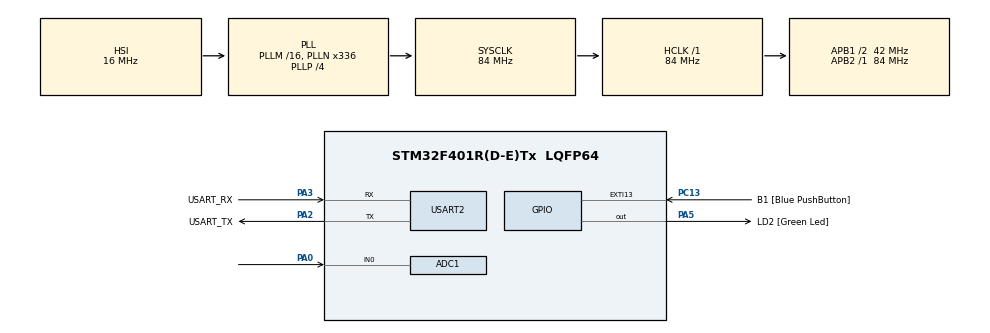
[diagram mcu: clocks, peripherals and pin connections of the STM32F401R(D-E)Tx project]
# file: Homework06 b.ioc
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ADC1.Channel-0\#ChannelRegularConversion=ADC_CHANNEL_0
ADC1.DMAContinuousRequests=ENABLE
ADC1.ExternalTrigConv=ADC_EXTERNALTRIGCONV_T2_TRGO
ADC1.InjNumberOfConversion=0
ADC1.NbrOfConversion=1
ADC1.NbrOfConversionFlag=1
ADC1.Rank-0\#ChannelRegularConversion=1
ADC1.Resolution=ADC_RESOLUTION_12B
ADC1.SamplingTime-0\#ChannelRegularConversion=ADC_SAMPLETIME_480CYCLES
ADC1.master=1
Dma.ADC1.0.Direction=DMA_PERIPH_TO_MEMORY
Dma.ADC1.0.FIFOMode=DMA_FIFOMODE_DISABLE
Dma.ADC1.0.Instance=DMA2_Stream0
Dma.ADC1.0.MemDataAlignment=DMA_MDATAALIGN_HALFWORD
Dma.ADC1.0.MemInc=DMA_MINC_ENABLE
Dma.ADC1.0.Mode=DMA_CIRCULAR
Dma.ADC1.0.PeriphDataAlignment=DMA_PDATAALIGN_HALFWORD
Dma.ADC1.0.PeriphInc=DMA_PINC_DISABLE
Dma.ADC1.0.Priority=DMA_PRIORITY_VERY_HIGH
Dma.Request0=ADC1
Dma.Request1=USART2_TX
Dma.USART2_TX.1.Direction=DMA_MEMORY_TO_PERIPH
Dma.USART2_TX.1.FIFOMode=DMA_FIFOMODE_DISABLE
Dma.USART2_TX.1.Instance=DMA1_Stream6
Dma.USART2_TX.1.MemDataAlignment=DMA_MDATAALIGN_BYTE
Dma.USART2_TX.1.MemInc=DMA_MINC_ENABLE
Dma.USART2_TX.1.Mode=DMA_NORMAL
Dma.USART2_TX.1.PeriphDataAlignment=DMA_PDATAALIGN_BYTE
Dma.USART2_TX.1.PeriphInc=DMA_PINC_DISABLE
Dma.USART2_TX.1.Priority=DMA_PRIORITY_HIGH
Mcu.Family=STM32F4
Mcu.Name=STM32F401R(D-E)Tx
Mcu.Package=LQFP64
NVIC.ADC_IRQn=true\:0\:0\:false\:false\:true\:true\:true\:true
NVIC.DMA1_Stream6_IRQn=true\:0\:0\:false\:false\:true\:false\:true\:true
NVIC.DMA2_Stream0_IRQn=true\:0\:0\:false\:false\:true\:false\:true\:true
NVIC.PriorityGroup=NVIC_PRIORITYGROUP_0
NVIC.TIM3_IRQn=true\:0\:1\:false\:false\:true\:true\:true\:true
NVIC.USART2_IRQn=true\:0\:0\:false\:false\:true\:true\:true\:true
PA0-WKUP.Signal=ADCx_IN0
PA13.GPIO_Label=TMS
PA13.Mode=Serial_Wire
PA13.Signal=SYS_JTMS-SWDIO
PA14.GPIO_Label=TCK
PA14.Mode=Serial_Wire
PA14.Signal=SYS_JTCK-SWCLK
PA2.GPIO_Label=USART_TX
PA2.GPIO_Mode=GPIO_MODE_AF_PP
PA2.GPIO_PuPd=GPIO_NOPULL
PA2.GPIO_Speed=GPIO_SPEED_FREQ_LOW
PA2.Mode=Asynchronous
PA2.Signal=USART2_TX
PA3.GPIO_Label=USART_RX
PA3.GPIO_Mode=GPIO_MODE_AF_PP
PA3.GPIO_PuPd=GPIO_NOPULL
PA3.GPIO_Speed=GPIO_SPEED_FREQ_LOW
PA3.Mode=Asynchronous
PA3.Signal=USART2_RX
PA5.GPIO_Label=LD2 [Green Led]
PA5.GPIO_Mode=GPIO_MODE_OUTPUT_PP
PA5.GPIO_PuPd=GPIO_NOPULL
PA5.GPIO_Speed=GPIO_SPEED_FREQ_LOW
PA5.Signal=GPIO_Output
PB3.GPIO_Label=SWO
PB3.Signal=SYS_JTDO-SWO
PC13-ANTI_TAMP.GPIO_Label=B1 [Blue PushButton]
PC13-ANTI_TAMP.GPIO_ModeDefaultEXTI=GPIO_MODE_IT_FALLING
PC13-ANTI_TAMP.GPIO_PuPd=GPIO_NOPULL
PC13-ANTI_TAMP.Signal=GPXTI13
PC14-OSC32_IN.Mode=LSE-External-Oscillator
PC14-OSC32_IN.Signal=RCC_OSC32_IN
PC15-OSC32_OUT.Mode=LSE-External-Oscillator
PC15-OSC32_OUT.Signal=RCC_OSC32_OUT
PH0\ -\ OSC_IN.Mode=HSE-External-Clock-Source
PH0\ -\ OSC_IN.Signal=RCC_OSC_IN
PH1\ -\ OSC_OUT.Mode=HSE-External-Clock-Source
PH1\ -\ OSC_OUT.Signal=RCC_OSC_OUT
ProjectManager.HeapSize=0x200
ProjectManager.StackSize=0x400
ProjectManager.TargetToolchain=STM32CubeIDE
RCC.48MHZClocksFreq_Value=48000000
RCC.AHBFreq_Value=84000000
RCC.APB1CLKDivider=RCC_HCLK_DIV2
RCC.APB1Freq_Value=42000000
RCC.APB1TimFreq_Value=84000000
RCC.APB2Freq_Value=84000000
RCC.APB2TimFreq_Value=84000000
RCC.CortexFreq_Value=84000000
RCC.HCLKFreq_Value=84000000
RCC.HSE_VALUE=8000000
RCC.HSI_VALUE=16000000
RCC.PLLN=336
RCC.PLLP=RCC_PLLP_DIV4
RCC.PLLQ=7
RCC.SYSCLKFreq_VALUE=84000000
RCC.SYSCLKSource=RCC_SYSCLKSOURCE_PLLCLK
RCC.VCOOutputFreq_Value=336000000
SH.ADCx_IN0.0=ADC1_IN0,IN0
TIM2.Period=8399
TIM2.Prescaler=9
TIM2.TIM_MasterOutputTrigger=TIM_TRGO_UPDATE
TIM3.Period=9999
TIM3.Prescaler=8399
USART2.VirtualMode=VM_ASYNC
VP_TIM2_VS_ClockSourceINT.Mode=Internal
VP_TIM3_VS_ClockSourceINT.Mode=Internal
board=NUCLEO-F401RE

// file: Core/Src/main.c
/* USER CODE BEGIN Header */
/**
 ******************************************************************************
 * @file           : main.c
 * @brief          : Main program body
 ******************************************************************************
 * @attention
 *
 * Copyright (c) 2024 STMicroelectronics.
 * All rights reserved.
 *
 * This software is licensed under terms that can be found in the LICENSE file
 * in the root directory of this software component.
 * If no LICENSE file comes with this software, it is provided AS-IS.
 *
 ******************************************************************************
 */
/* USER CODE END Header */
#include "main.h"

/* USER CODE BEGIN Includes */
#include <string.h>
#include <math.h>
/* USER CODE END Includes */

ADC_HandleTypeDef hadc1;
DMA_HandleTypeDef hdma_adc1;

TIM_HandleTypeDef htim2;
TIM_HandleTypeDef htim3;

UART_HandleTypeDef huart2;
DMA_HandleTypeDef hdma_usart2_tx;

void SystemClock_Config(void);
static void MX_GPIO_Init(void);
static void MX_DMA_Init(void);
static void MX_USART2_UART_Init(void);
static void MX_ADC1_Init(void);
static void MX_TIM2_Init(void);
static void MX_TIM3_Init(void);

/* USER CODE BEGIN 0 */

uint16_t adc_dma_result; //buffer dove metto i valori
int adc_channel_count = 1;
char output[20];
int vldr = 0;
float mean = 0.0f;
float res = 0.0f;
float lux = 0.0f;

void HAL_ADC_ConvCpltCallback(ADC_HandleTypeDef *hadc) {
	 vldr = vldr + (int)adc_dma_result;
}

void HAL_TIM_PeriodElapsedCallback(TIM_HandleTypeDef *htim) {
	if(htim == &htim3){
		mean = 3.3f * vldr /4096000;
		res =(mean * 100000)/(3.3f - mean);
		lux = 10 * pow(100000/res,1.25f);
		snprintf(output, 100, "Lux: %.5f\r\n", lux);
		HAL_UART_Transmit_DMA(&huart2, output, strlen(output));
		vldr = 0;
	}
}

/* USER CODE END 0 */

int main(void)
{

  /* MCU Configuration--------------------------------------------------------*/

  /* Reset of all peripherals, Initializes the Flash interface and the Systick. */
  HAL_Init();

  /* Configure the system clock */
  SystemClock_Config();

  /* Initialize all configured peripherals */
  MX_GPIO_Init();
  MX_DMA_Init();
  MX_USART2_UART_Init();
  MX_ADC1_Init();
  MX_TIM2_Init();
  MX_TIM3_Init();
  /* USER CODE BEGIN 2 */
	HAL_ADC_Start_DMA(&hadc1, &adc_dma_result, adc_channel_count);
	HAL_TIM_Base_Start(&htim2);
	HAL_TIM_Base_Start_IT(&htim3);
  /* USER CODE END 2 */

  /* Infinite loop */
	while (1)
	{

	}
}

void SystemClock_Config(void)
{
  RCC_OscInitTypeDef RCC_OscInitStruct = {0};
  RCC_ClkInitTypeDef RCC_ClkInitStruct = {0};

  /** Configure the main internal regulator output voltage
  */
  __HAL_RCC_PWR_CLK_ENABLE();
  __HAL_PWR_VOLTAGESCALING_CONFIG(PWR_REGULATOR_VOLTAGE_SCALE2);

  /** Initializes the RCC Oscillators according to the specified parameters
  * in the RCC_OscInitTypeDef structure.
  */
  RCC_OscInitStruct.OscillatorType = RCC_OSCILLATORTYPE_HSI;
  RCC_OscInitStruct.HSIState = RCC_HSI_ON;
  RCC_OscInitStruct.HSICalibrationValue = RCC_HSICALIBRATION_DEFAULT;
  RCC_OscInitStruct.PLL.PLLState = RCC_PLL_ON;
  RCC_OscInitStruct.PLL.PLLSource = RCC_PLLSOURCE_HSI;
  RCC_OscInitStruct.PLL.PLLM = 16;
  RCC_OscInitStruct.PLL.PLLN = 336;
  RCC_OscInitStruct.PLL.PLLP = RCC_PLLP_DIV4;
  RCC_OscInitStruct.PLL.PLLQ = 7;
  if (HAL_RCC_OscConfig(&RCC_OscInitStruct) != HAL_OK)
  {
    Error_Handler();
  }

  /** Initializes the CPU, AHB and APB buses clocks
  */
  RCC_ClkInitStruct.ClockType = RCC_CLOCKTYPE_HCLK|RCC_CLOCKTYPE_SYSCLK
                              |RCC_CLOCKTYPE_PCLK1|RCC_CLOCKTYPE_PCLK2;
  RCC_ClkInitStruct.SYSCLKSource = RCC_SYSCLKSOURCE_PLLCLK;
  RCC_ClkInitStruct.AHBCLKDivider = RCC_SYSCLK_DIV1;
  RCC_ClkInitStruct.APB1CLKDivider = RCC_HCLK_DIV2;
  RCC_ClkInitStruct.APB2CLKDivider = RCC_HCLK_DIV1;

  if (HAL_RCC_ClockConfig(&RCC_ClkInitStruct, FLASH_LATENCY_2) != HAL_OK)
  {
    Error_Handler();
  }
}

static void MX_ADC1_Init(void)
{

  ADC_ChannelConfTypeDef sConfig = {0};

  /** Configure the global features of the ADC (Clock, Resolution, Data Alignment and number of conversion)
  */
  hadc1.Instance = ADC1;
  hadc1.Init.ClockPrescaler = ADC_CLOCK_SYNC_PCLK_DIV4;
  hadc1.Init.Resolution = ADC_RESOLUTION_12B;
  hadc1.Init.ScanConvMode = DISABLE;
  hadc1.Init.ContinuousConvMode = DISABLE;
  hadc1.Init.DiscontinuousConvMode = DISABLE;
  hadc1.Init.ExternalTrigConvEdge = ADC_EXTERNALTRIGCONVEDGE_RISING;
  hadc1.Init.ExternalTrigConv = ADC_EXTERNALTRIGCONV_T2_TRGO;
  hadc1.Init.DataAlign = ADC_DATAALIGN_RIGHT;
  hadc1.Init.NbrOfConversion = 1;
  hadc1.Init.DMAContinuousRequests = ENABLE;
  hadc1.Init.EOCSelection = ADC_EOC_SINGLE_CONV;
  if (HAL_ADC_Init(&hadc1) != HAL_OK)
  {
    Error_Handler();
  }

  /** Configure for the selected ADC regular channel its corresponding rank in the sequencer and its sample time.
  */
  sConfig.Channel = ADC_CHANNEL_0;
  sConfig.Rank = 1;
  sConfig.SamplingTime = ADC_SAMPLETIME_480CYCLES;
  if (HAL_ADC_ConfigChannel(&hadc1, &sConfig) != HAL_OK)
  {
    Error_Handler();
  }

}

static void MX_TIM2_Init(void)
{

  TIM_ClockConfigTypeDef sClockSourceConfig = {0};
  TIM_MasterConfigTypeDef sMasterConfig = {0};

  htim2.Instance = TIM2;
  htim2.Init.Prescaler = 9;
  htim2.Init.CounterMode = TIM_COUNTERMODE_UP;
  htim2.Init.Period = 8399;
  htim2.Init.ClockDivision = TIM_CLOCKDIVISION_DIV1;
  htim2.Init.AutoReloadPreload = TIM_AUTORELOAD_PRELOAD_DISABLE;
  if (HAL_TIM_Base_Init(&htim2) != HAL_OK)
  {
    Error_Handler();
  }
  sClockSourceConfig.ClockSource = TIM_CLOCKSOURCE_INTERNAL;
  if (HAL_TIM_ConfigClockSource(&htim2, &sClockSourceConfig) != HAL_OK)
  {
    Error_Handler();
  }
  sMasterConfig.MasterOutputTrigger = TIM_TRGO_UPDATE;
  sMasterConfig.MasterSlaveMode = TIM_MASTERSLAVEMODE_DISABLE;
  if (HAL_TIMEx_MasterConfigSynchronization(&htim2, &sMasterConfig) != HAL_OK)
  {
    Error_Handler();
  }

}

static void MX_TIM3_Init(void)
{

  TIM_ClockConfigTypeDef sClockSourceConfig = {0};
  TIM_MasterConfigTypeDef sMasterConfig = {0};

  htim3.Instance = TIM3;
  htim3.Init.Prescaler = 8399;
  htim3.Init.CounterMode = TIM_COUNTERMODE_UP;
  htim3.Init.Period = 9999;
  htim3.Init.ClockDivision = TIM_CLOCKDIVISION_DIV1;
  htim3.Init.AutoReloadPreload = TIM_AUTORELOAD_PRELOAD_DISABLE;
  if (HAL_TIM_Base_Init(&htim3) != HAL_OK)
  {
    Error_Handler();
  }
  sClockSourceConfig.ClockSource = TIM_CLOCKSOURCE_INTERNAL;
  if (HAL_TIM_ConfigClockSource(&htim3, &sClockSourceConfig) != HAL_OK)
  {
    Error_Handler();
  }
  sMasterConfig.MasterOutputTrigger = TIM_TRGO_RESET;
  sMasterConfig.MasterSlaveMode = TIM_MASTERSLAVEMODE_DISABLE;
  if (HAL_TIMEx_MasterConfigSynchronization(&htim3, &sMasterConfig) != HAL_OK)
  {
    Error_Handler();
  }

}

static void MX_USART2_UART_Init(void)
{

  huart2.Instance = USART2;
  huart2.Init.BaudRate = 115200;
  huart2.Init.WordLength = UART_WORDLENGTH_8B;
  huart2.Init.StopBits = UART_STOPBITS_1;
  huart2.Init.Parity = UART_PARITY_NONE;
  huart2.Init.Mode = UART_MODE_TX_RX;
  huart2.Init.HwFlowCtl = UART_HWCONTROL_NONE;
  huart2.Init.OverSampling = UART_OVERSAMPLING_16;
  if (HAL_UART_Init(&huart2) != HAL_OK)
  {
    Error_Handler();
  }

}

static void MX_DMA_Init(void)
{

  /* DMA controller clock enable */
  __HAL_RCC_DMA2_CLK_ENABLE();
  __HAL_RCC_DMA1_CLK_ENABLE();

  /* DMA interrupt init */
  /* DMA1_Stream6_IRQn interrupt configuration */
  HAL_NVIC_SetPriority(DMA1_Stream6_IRQn, 0, 0);
  HAL_NVIC_EnableIRQ(DMA1_Stream6_IRQn);
  /* DMA2_Stream0_IRQn interrupt configuration */
  HAL_NVIC_SetPriority(DMA2_Stream0_IRQn, 0, 0);
  HAL_NVIC_EnableIRQ(DMA2_Stream0_IRQn);

}

static void MX_GPIO_Init(void)
{
  GPIO_InitTypeDef GPIO_InitStruct = {0};

  /* GPIO Ports Clock Enable */
  __HAL_RCC_GPIOC_CLK_ENABLE();
  __HAL_RCC_GPIOH_CLK_ENABLE();
  __HAL_RCC_GPIOA_CLK_ENABLE();
  __HAL_RCC_GPIOB_CLK_ENABLE();

  /*Configure GPIO pin Output Level */
  HAL_GPIO_WritePin(LD2_GPIO_Port, LD2_Pin, GPIO_PIN_RESET);

  /*Configure GPIO pin : B1_Pin */
  GPIO_InitStruct.Pin = B1_Pin;
  GPIO_InitStruct.Mode = GPIO_MODE_IT_FALLING;
  GPIO_InitStruct.Pull = GPIO_NOPULL;
  HAL_GPIO_Init(B1_GPIO_Port, &GPIO_InitStruct);

  /*Configure GPIO pin : LD2_Pin */
  GPIO_InitStruct.Pin = LD2_Pin;
  GPIO_InitStruct.Mode = GPIO_MODE_OUTPUT_PP;
  GPIO_InitStruct.Pull = GPIO_NOPULL;
  GPIO_InitStruct.Speed = GPIO_SPEED_FREQ_LOW;
  HAL_GPIO_Init(LD2_GPIO_Port, &GPIO_InitStruct);

}

void Error_Handler(void)
{
	__disable_irq();
	while (1)
	{
	}
}
